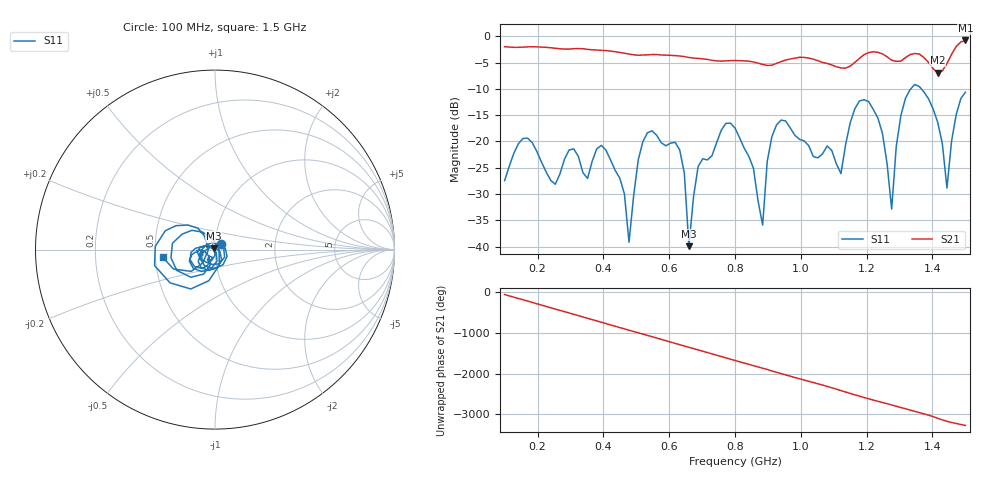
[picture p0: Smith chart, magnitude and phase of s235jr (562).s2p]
! NanoVNA-App
! Date: 2025-09-25 15:08:32
! Start: 100MHz Stop: 1,5GHz Points: 101
! S-Parameter data: F S11 S21 S12 S22
# Hz S RI R 50
!  Frequency  S11_Real  S11_Imag  S21_Real  S21_Imag  S12_Real  S12_Imag  S22_Real  S22_Imag
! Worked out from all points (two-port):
!   101 points, 100 MHz to 1.5 GHz, reference 50 ohm
!   highest |S21| = -0.78 dB at 1.5 GHz (marker M1); lowest = -6.9 dB at 1.416 GHz (marker M2)
!   |S21| within 3 dB of the highest: start of sweep to 637.2 MHz; 1.186 GHz to 1.259 GHz (73.15 MHz wide, 5.98 % of centre) (the widest 2 of 4)
!   lowest |S11| = -39.9 dB at 660 MHz (marker M3), VSWR 1.02, Z = 49.2 + j0.628 ohm
!   |S11| at or under -10 dB: start of sweep to 1.334 GHz; 1.366 GHz to end of sweep
!   S12 and S22 are empty: the file has one direction only
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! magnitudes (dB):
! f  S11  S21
! 100 MHz  -27.5  -2.0
! 156 MHz  -19.4  -2.0
! 338 MHz  -25.9  -2.3
! 408 MHz  -21.7  -2.7
! 478 MHz  -39.2  -3.4
! 520 MHz  -20.1  -3.5
! 576 MHz  -20.3  -3.5
! 632 MHz  -21.6  -3.7
! 660 MHz  -39.9  -4.0
! 688 MHz  -24.8  -4.2
! 800 MHz  -17.4  -4.6
! 884 MHz  -35.9  -5.3
! 926 MHz  -16.9  -5.1
! 1.038 GHz  -22.9  -4.3
! 1.122 GHz  -26.1  -6.0
! 1.206 GHz  -12.4  -3.1
! 1.248 GHz  -18.5  -3.3
! 1.276 GHz  -32.9  -4.5
! 1.318 GHz  -11.8  -4.0
! 1.416 GHz  -16.4  -6.9
! 1.444 GHz  -28.9  -5.2
! 1.5 GHz  -10.6  -0.8
